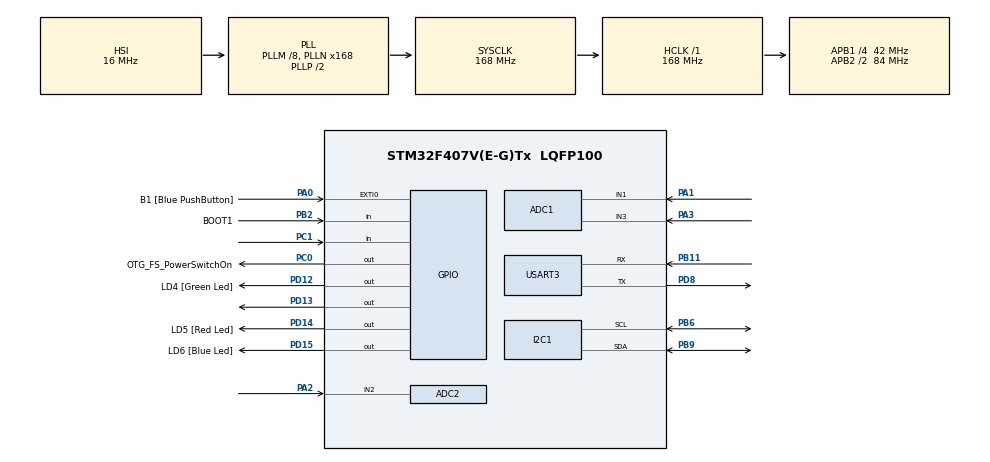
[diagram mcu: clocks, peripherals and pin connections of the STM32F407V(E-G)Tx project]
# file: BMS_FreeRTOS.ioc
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ADC1.Channel-0\#ChannelRegularConversion=ADC_CHANNEL_1
ADC1.DMAAccessMode=ADC_DMAACCESSMODE_2
ADC1.DMAContinuousRequests=ENABLE
ADC1.ExternalTrigConv=ADC_EXTERNALTRIGCONV_T2_TRGO
ADC1.Mode=ADC_DUALMODE_REGSIMULT
ADC1.NbrOfConversionFlag=1
ADC1.Rank-0\#ChannelRegularConversion=1
ADC1.SamplingTime-0\#ChannelRegularConversion=ADC_SAMPLETIME_56CYCLES
ADC1.master=1
ADC2.Channel-0\#ChannelRegularConversion=ADC_CHANNEL_2
ADC2.DMAAccessMode=ADC_DMAACCESSMODE_2
ADC2.Mode=ADC_DUALMODE_REGSIMULT
ADC2.NbrOfConversionFlag=1
ADC2.Rank-0\#ChannelRegularConversion=1
ADC2.SamplingTime-0\#ChannelRegularConversion=ADC_SAMPLETIME_56CYCLES
Dma.ADC1.0.Direction=DMA_PERIPH_TO_MEMORY
Dma.ADC1.0.FIFOMode=DMA_FIFOMODE_DISABLE
Dma.ADC1.0.Instance=DMA2_Stream0
Dma.ADC1.0.MemDataAlignment=DMA_MDATAALIGN_WORD
Dma.ADC1.0.MemInc=DMA_MINC_ENABLE
Dma.ADC1.0.Mode=DMA_CIRCULAR
Dma.ADC1.0.PeriphDataAlignment=DMA_PDATAALIGN_WORD
Dma.ADC1.0.PeriphInc=DMA_PINC_DISABLE
Dma.ADC1.0.Priority=DMA_PRIORITY_LOW
Dma.Request0=ADC1
FREERTOS.Tasks01=DisplayTask,-1,256,StartDisplayTask,Default,NULL,Dynamic,NULL,NULL;BuzzerTask,3,128,StartBuzzerTask,Default,NULL,Dynamic,NULL,NULL;BMSsamplingtask,0,128,StartBMSsamplingtask,Default,NULL,Dynamic,NULL,NULL;ProcessTask,0,128,StartProcessTask,Default,NULL,Dynamic,NULL,NULL;SendToWiFiTask,0,128,StartSendToWiFitask,Default,NULL,Dynamic,NULL,NULL;ChargingTimeTas,0,128,StartChargingTimeTask,Default,NULL,Dynamic,NULL,NULL
FREERTOS.configUSE_NEWLIB_REENTRANT=1
Mcu.Family=STM32F4
Mcu.Name=STM32F407V(E-G)Tx
Mcu.Package=LQFP100
NVIC.DMA2_Stream0_IRQn=true\:5\:0\:false\:false\:true\:true\:false\:true\:true
NVIC.PriorityGroup=NVIC_PRIORITYGROUP_4
NVIC.TIM6_DAC_IRQn=true\:15\:0\:false\:false\:true\:false\:false\:true\:true
NVIC.TimeBase=TIM6_DAC_IRQn
NVIC.TimeBaseIP=TIM6
PA0-WKUP.GPIO_Label=B1 [Blue PushButton]
PA0-WKUP.GPIO_ModeDefaultEXTI=GPIO_MODE_EVT_RISING
PA0-WKUP.GPIO_PuPd=GPIO_NOPULL
PA0-WKUP.Signal=GPXTI0
PA1.Signal=ADCx_IN1
PA10.GPIO_Label=OTG_FS_ID
PA10.GPIO_Mode=GPIO_MODE_AF_PP
PA10.GPIO_PuPd=GPIO_NOPULL
PA10.GPIO_Speed=GPIO_SPEED_FREQ_LOW
PA10.Signal=USB_OTG_FS_ID
PA11.GPIO_Label=OTG_FS_DM
PA11.GPIO_Mode=GPIO_MODE_AF_PP
PA11.GPIO_PuPd=GPIO_NOPULL
PA11.GPIO_Speed=GPIO_SPEED_FREQ_LOW
PA11.Signal=USB_OTG_FS_DM
PA12.GPIO_Label=OTG_FS_DP
PA12.GPIO_Mode=GPIO_MODE_AF_PP
PA12.GPIO_PuPd=GPIO_NOPULL
PA12.GPIO_Speed=GPIO_SPEED_FREQ_LOW
PA12.Signal=USB_OTG_FS_DP
PA13.GPIO_Label=SWDIO
PA13.Mode=Serial_Wire
PA13.Signal=SYS_JTMS-SWDIO
PA14.GPIO_Label=SWCLK
PA14.Mode=Serial_Wire
PA14.Signal=SYS_JTCK-SWCLK
PA2.Signal=ADCx_IN2
PA3.Signal=ADCx_IN3
PA4.GPIO_Label=I2S3_WS [CS43L22_LRCK]
PA4.GPIO_Mode=GPIO_MODE_AF_PP
PA4.GPIO_PuPd=GPIO_NOPULL
PA4.GPIO_Speed=GPIO_SPEED_FREQ_LOW
PA4.Signal=I2S3_WS
PA5.GPIO_Label=SPI1_SCK [LIS302DL_SCL/SPC]
PA5.GPIO_Mode=GPIO_MODE_AF_PP
PA5.GPIO_PuPd=GPIO_NOPULL
PA5.GPIO_Speed=GPIO_SPEED_FREQ_LOW
PA5.Signal=SPI1_SCK
PA6.GPIO_Label=SPI1_MISO [LIS302DL_SDO]
PA6.GPIO_Mode=GPIO_MODE_AF_PP
PA6.GPIO_PuPd=GPIO_NOPULL
PA6.GPIO_Speed=GPIO_SPEED_FREQ_LOW
PA6.Signal=SPI1_MISO
PA7.GPIO_Label=SPI1_MOSI [LIS302DL_SDA/SDI/SDO]
PA7.GPIO_Mode=GPIO_MODE_AF_PP
PA7.GPIO_PuPd=GPIO_NOPULL
PA7.GPIO_Speed=GPIO_SPEED_FREQ_LOW
PA7.Signal=SPI1_MOSI
PA9.GPIO_Label=VBUS_FS
PA9.GPIO_Mode=GPIO_MODE_INPUT
PA9.GPIO_PuPd=GPIO_NOPULL
PA9.Signal=USB_OTG_FS_VBUS
PB10.GPIO_Label=CLK_IN [MP45DT02_CLK]
PB10.GPIO_Mode=GPIO_MODE_AF_PP
PB10.GPIO_PuPd=GPIO_NOPULL
PB10.GPIO_Speed=GPIO_SPEED_FREQ_LOW
PB10.Signal=I2S2_CK
PB11.Mode=Asynchronous
PB11.Signal=USART3_RX
PB2.GPIO_Label=BOOT1
PB2.GPIO_Mode=GPIO_MODE_INPUT
PB2.GPIO_PuPd=GPIO_NOPULL
PB2.Signal=GPIO_Input
PB3.GPIO_Label=SWO
PB3.Signal=SYS_JTDO-SWO
PB6.Mode=I2C
PB6.Signal=I2C1_SCL
PB9.Mode=I2C
PB9.Signal=I2C1_SDA
PC0.GPIO_Label=OTG_FS_PowerSwitchOn
PC0.GPIO_PuPd=GPIO_NOPULL
PC0.GPIO_Speed=GPIO_SPEED_FREQ_LOW
PC0.PinState=GPIO_PIN_SET
PC0.Signal=GPIO_Output
PC1.Signal=GPIO_Input
PC12.GPIO_Label=I2S3_SD [CS43L22_SDIN]
PC12.GPIO_Mode=GPIO_MODE_AF_PP
PC12.GPIO_PuPd=GPIO_NOPULL
PC12.GPIO_Speed=GPIO_SPEED_FREQ_LOW
PC12.Signal=I2S3_SD
PC3.GPIO_Label=PDM_OUT [MP45DT02_DOUT]
PC3.GPIO_Mode=GPIO_MODE_AF_PP
PC3.GPIO_PuPd=GPIO_NOPULL
PC3.GPIO_Speed=GPIO_SPEED_FREQ_LOW
PC3.Signal=I2S2_SD
PD12.GPIO_Label=LD4 [Green Led]
PD12.GPIO_PuPd=GPIO_NOPULL
PD12.GPIO_Speed=GPIO_SPEED_FREQ_LOW
PD12.Signal=GPIO_Output
PD13.Signal=GPIO_Output
PD14.GPIO_Label=LD5 [Red Led]
PD14.GPIO_PuPd=GPIO_NOPULL
PD14.GPIO_Speed=GPIO_SPEED_FREQ_LOW
PD14.Signal=GPIO_Output
PD15.GPIO_Label=LD6 [Blue Led]
PD15.GPIO_PuPd=GPIO_NOPULL
PD15.GPIO_Speed=GPIO_SPEED_FREQ_LOW
PD15.Signal=GPIO_Output
PD8.Mode=Asynchronous
PD8.Signal=USART3_TX
PH0-OSC_IN.GPIO_Label=PH0-OSC_IN
PH0-OSC_IN.Signal=RCC_OSC_IN
PH1-OSC_OUT.GPIO_Label=PH1-OSC_OUT
PH1-OSC_OUT.Signal=RCC_OSC_OUT
ProjectManager.HeapSize=0x200
ProjectManager.StackSize=0x400
ProjectManager.TargetToolchain=STM32CubeIDE
RCC.48MHZClocksFreq_Value=48000000
RCC.AHBFreq_Value=168000000
RCC.APB1CLKDivider=RCC_HCLK_DIV4
RCC.APB1Freq_Value=42000000
RCC.APB1TimFreq_Value=84000000
RCC.APB2CLKDivider=RCC_HCLK_DIV2
RCC.APB2Freq_Value=84000000
RCC.APB2TimFreq_Value=168000000
RCC.CortexFreq_Value=168000000
RCC.HCLKFreq_Value=168000000
RCC.HSE_VALUE=8000000
RCC.HSI_VALUE=16000000
RCC.LSE_VALUE=32768
RCC.PLLI2SN=50
RCC.PLLM=8
RCC.PLLN=168
RCC.PLLQ=7
RCC.SYSCLKFreq_VALUE=168000000
RCC.SYSCLKSource=RCC_SYSCLKSOURCE_PLLCLK
RCC.VCOOutputFreq_Value=336000000
SH.ADCx_IN1.0=ADC1_IN1,IN1
SH.ADCx_IN2.0=ADC2_IN2,IN2
SH.ADCx_IN3.0=ADC1_IN3,IN3
TIM2.Period=999
TIM2.Prescaler=8399
TIM2.TIM_MasterOutputTrigger=TIM_TRGO_UPDATE
TIM2.TIM_MasterSlaveMode=TIM_MASTERSLAVEMODE_ENABLE
USART3.VirtualMode=VM_ASYNC
VP_FREERTOS_VS_CMSIS_V1.Mode=CMSIS_V1
VP_SYS_VS_tim6.Mode=TIM6
VP_TIM2_VS_ClockSourceINT.Mode=Internal
board=STM32F407G-DISC1

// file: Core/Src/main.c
/* USER CODE BEGIN Header */
/**
  ******************************************************************************
  * @file           : main.c
  * @brief          : Main program body
  ******************************************************************************
  * @attention
  *
  * Copyright (c) 2025 STMicroelectronics.
  * All rights reserved.
  *
  * This software is licensed under terms that can be found in the LICENSE file
  * in the root directory of this software component.
  * If no LICENSE file comes with this software, it is provided AS-IS.
  *
  ******************************************************************************
  */
/* USER CODE END Header */
#include "main.h"
#include "cmsis_os.h"

/* USER CODE BEGIN Includes */
#include "stdio.h"
#include "string.h"
#include "oled_display.h"
#include "buzzer.h"
#include "sensing.h"
#include "processings.h"
#include "bms_data.h"
#include "eeprom_processings.h"
/* USER CODE END Includes */

/* USER CODE BEGIN PTD */
typedef enum{
	STATE_SAMPLE_VI,
	STATE_SAMPLE_TEMP,
	STATE_ERROR
}BMS_State_t;
typedef struct{
	float voltage;
	float current;
	int soc;
	float power;
	float temperature;
	int soh;
	BatteryStatus batteryStatus;
	int hours;
	int minutes;
}Display_Data_t;
/* USER CODE END PTD */

ADC_HandleTypeDef hadc1;
ADC_HandleTypeDef hadc2;
DMA_HandleTypeDef hdma_adc1;

I2C_HandleTypeDef hi2c1;

TIM_HandleTypeDef htim2;

UART_HandleTypeDef huart3;

osThreadId DisplayTaskHandle;
osThreadId BuzzerTaskHandle;
osThreadId BMSsamplingtaskHandle;
osThreadId ProcessTaskHandle;
osThreadId SendToWiFiTaskHandle;
osThreadId ChargingTimeTasHandle;
/* USER CODE BEGIN PV */
static BMS_State_t currentState = STATE_SAMPLE_VI;
static uint32_t fsm_counter = 0;  // for controlling periodic temperature sampling

Display_Data_t display_data ={0};
static SemaphoreHandle_t xDisplayMutex;

static char jsonBuffer[512];//predefine block for collect data for wifi
//Processtask binary semaphore

/* USER CODE END PV */

void SystemClock_Config(void);
static void MX_GPIO_Init(void);
static void MX_DMA_Init(void);
static void MX_I2C1_Init(void);
void MX_ADC1_Init(void);
static void MX_ADC2_Init(void);
static void MX_TIM2_Init(void);
static void MX_USART3_UART_Init(void);
void StartDisplayTask(void const * argument);
void StartBuzzerTask(void const * argument);
void StartBMSsamplingtask(void const * argument);
void StartProcessTask(void const * argument);
void StartSendToWiFitask(void const * argument);
void StartChargingTimeTask(void const * argument);

int main(void)
{

  /* MCU Configuration--------------------------------------------------------*/

  /* Reset of all peripherals, Initializes the Flash interface and the Systick. */
  HAL_Init();

  /* Configure the system clock */
  SystemClock_Config();

  /* Initialize all configured peripherals */
  MX_GPIO_Init();
  MX_DMA_Init();
  MX_I2C1_Init();
  MX_ADC1_Init();
  MX_ADC2_Init();
  MX_TIM2_Init();
  MX_USART3_UART_Init();
  /* USER CODE BEGIN 2 */
  /* Initialize OLED and Buzzer*/
  oled_init();
  buzzer_init();
  BMS_Init();
  /* USER CODE END 2 */

  /* USER CODE BEGIN RTOS_MUTEX */
  /* add mutexes, ... */
  xDisplayMutex = xSemaphoreCreateMutex();
  /* USER CODE END RTOS_MUTEX */

  /* Create the thread(s) */
  /* definition and creation of DisplayTask */
  osThreadDef(DisplayTask, StartDisplayTask, osPriorityBelowNormal, 0, 256);
  DisplayTaskHandle = osThreadCreate(osThread(DisplayTask), NULL);

  /* definition and creation of BuzzerTask */
  osThreadDef(BuzzerTask, StartBuzzerTask, osPriorityRealtime, 0, 128);
  BuzzerTaskHandle = osThreadCreate(osThread(BuzzerTask), NULL);

  /* definition and creation of BMSsamplingtask */
  osThreadDef(BMSsamplingtask, StartBMSsamplingtask, osPriorityNormal, 0, 128);
  BMSsamplingtaskHandle = osThreadCreate(osThread(BMSsamplingtask), NULL);

  /* definition and creation of ProcessTask */
  osThreadDef(ProcessTask, StartProcessTask, osPriorityNormal, 0, 128);
  ProcessTaskHandle = osThreadCreate(osThread(ProcessTask), NULL);

  /* definition and creation of SendToWiFiTask */
  osThreadDef(SendToWiFiTask, StartSendToWiFitask, osPriorityBelowNormal, 0, 128);
  SendToWiFiTaskHandle = osThreadCreate(osThread(SendToWiFiTask), NULL);

  /* definition and creation of ChargingTimeTas */
  osThreadDef(ChargingTimeTas, StartChargingTimeTask, osPriorityNormal, 0, 128);
  ChargingTimeTasHandle = osThreadCreate(osThread(ChargingTimeTas), NULL);

  /* Start scheduler */
  osKernelStart();

  /* We should never get here as control is now taken by the scheduler */

  /* Infinite loop */
  while (1)
  {

  }
}

void SystemClock_Config(void)
{
  RCC_OscInitTypeDef RCC_OscInitStruct = {0};
  RCC_ClkInitTypeDef RCC_ClkInitStruct = {0};

  /** Configure the main internal regulator output voltage
  */
  __HAL_RCC_PWR_CLK_ENABLE();
  __HAL_PWR_VOLTAGESCALING_CONFIG(PWR_REGULATOR_VOLTAGE_SCALE1);

  /** Initializes the RCC Oscillators according to the specified parameters
  * in the RCC_OscInitTypeDef structure.
  */
  RCC_OscInitStruct.OscillatorType = RCC_OSCILLATORTYPE_HSI;
  RCC_OscInitStruct.HSIState = RCC_HSI_ON;
  RCC_OscInitStruct.HSICalibrationValue = RCC_HSICALIBRATION_DEFAULT;
  RCC_OscInitStruct.PLL.PLLState = RCC_PLL_ON;
  RCC_OscInitStruct.PLL.PLLSource = RCC_PLLSOURCE_HSI;
  RCC_OscInitStruct.PLL.PLLM = 8;
  RCC_OscInitStruct.PLL.PLLN = 168;
  RCC_OscInitStruct.PLL.PLLP = RCC_PLLP_DIV2;
  RCC_OscInitStruct.PLL.PLLQ = 7;
  if (HAL_RCC_OscConfig(&RCC_OscInitStruct) != HAL_OK)
  {
    Error_Handler();
  }

  /** Initializes the CPU, AHB and APB buses clocks
  */
  RCC_ClkInitStruct.ClockType = RCC_CLOCKTYPE_HCLK|RCC_CLOCKTYPE_SYSCLK
                              |RCC_CLOCKTYPE_PCLK1|RCC_CLOCKTYPE_PCLK2;
  RCC_ClkInitStruct.SYSCLKSource = RCC_SYSCLKSOURCE_PLLCLK;
  RCC_ClkInitStruct.AHBCLKDivider = RCC_SYSCLK_DIV1;
  RCC_ClkInitStruct.APB1CLKDivider = RCC_HCLK_DIV4;
  RCC_ClkInitStruct.APB2CLKDivider = RCC_HCLK_DIV2;

  if (HAL_RCC_ClockConfig(&RCC_ClkInitStruct, FLASH_LATENCY_5) != HAL_OK)
  {
    Error_Handler();
  }
}

void MX_ADC1_Init(void)
{

  ADC_MultiModeTypeDef multimode = {0};
  ADC_ChannelConfTypeDef sConfig = {0};

  /** Configure the global features of the ADC (Clock, Resolution, Data Alignment and number of conversion)
  */
  hadc1.Instance = ADC1;
  hadc1.Init.ClockPrescaler = ADC_CLOCK_SYNC_PCLK_DIV4;
  hadc1.Init.Resolution = ADC_RESOLUTION_12B;
  hadc1.Init.ScanConvMode = DISABLE;
  hadc1.Init.ContinuousConvMode = DISABLE;
  hadc1.Init.DiscontinuousConvMode = DISABLE;
  hadc1.Init.ExternalTrigConvEdge = ADC_EXTERNALTRIGCONVEDGE_RISING;
  hadc1.Init.ExternalTrigConv = ADC_EXTERNALTRIGCONV_T2_TRGO;
  hadc1.Init.DataAlign = ADC_DATAALIGN_RIGHT;
  hadc1.Init.NbrOfConversion = 1;
  hadc1.Init.DMAContinuousRequests = ENABLE;
  hadc1.Init.EOCSelection = ADC_EOC_SINGLE_CONV;
  if (HAL_ADC_Init(&hadc1) != HAL_OK)
  {
    Error_Handler();
  }

  /** Configure the ADC multi-mode
  */
  multimode.Mode = ADC_DUALMODE_REGSIMULT;
  multimode.DMAAccessMode = ADC_DMAACCESSMODE_2;
  multimode.TwoSamplingDelay = ADC_TWOSAMPLINGDELAY_5CYCLES;
  if (HAL_ADCEx_MultiModeConfigChannel(&hadc1, &multimode) != HAL_OK)
  {
    Error_Handler();
  }

  /** Configure for the selected ADC regular channel its corresponding rank in the sequencer and its sample time.
  */
  sConfig.Channel = ADC_CHANNEL_1;
  sConfig.Rank = 1;
  sConfig.SamplingTime = ADC_SAMPLETIME_56CYCLES;
  if (HAL_ADC_ConfigChannel(&hadc1, &sConfig) != HAL_OK)
  {
    Error_Handler();
  }

}

static void MX_ADC2_Init(void)
{

  ADC_ChannelConfTypeDef sConfig = {0};

  /** Configure the global features of the ADC (Clock, Resolution, Data Alignment and number of conversion)
  */
  hadc2.Instance = ADC2;
  hadc2.Init.ClockPrescaler = ADC_CLOCK_SYNC_PCLK_DIV4;
  hadc2.Init.Resolution = ADC_RESOLUTION_12B;
  hadc2.Init.ScanConvMode = DISABLE;
  hadc2.Init.ContinuousConvMode = DISABLE;
  hadc2.Init.DiscontinuousConvMode = DISABLE;
  hadc2.Init.DataAlign = ADC_DATAALIGN_RIGHT;
  hadc2.Init.NbrOfConversion = 1;
  hadc2.Init.DMAContinuousRequests = DISABLE;
  hadc2.Init.EOCSelection = ADC_EOC_SINGLE_CONV;
  if (HAL_ADC_Init(&hadc2) != HAL_OK)
  {
    Error_Handler();
  }

  /** Configure for the selected ADC regular channel its corresponding rank in the sequencer and its sample time.
  */
  sConfig.Channel = ADC_CHANNEL_2;
  sConfig.Rank = 1;
  sConfig.SamplingTime = ADC_SAMPLETIME_56CYCLES;
  if (HAL_ADC_ConfigChannel(&hadc2, &sConfig) != HAL_OK)
  {
    Error_Handler();
  }

}

static void MX_I2C1_Init(void)
{

  hi2c1.Instance = I2C1;
  hi2c1.Init.ClockSpeed = 100000;
  hi2c1.Init.DutyCycle = I2C_DUTYCYCLE_2;
  hi2c1.Init.OwnAddress1 = 0;
  hi2c1.Init.AddressingMode = I2C_ADDRESSINGMODE_7BIT;
  hi2c1.Init.DualAddressMode = I2C_DUALADDRESS_DISABLE;
  hi2c1.Init.OwnAddress2 = 0;
  hi2c1.Init.GeneralCallMode = I2C_GENERALCALL_DISABLE;
  hi2c1.Init.NoStretchMode = I2C_NOSTRETCH_DISABLE;
  if (HAL_I2C_Init(&hi2c1) != HAL_OK)
  {
    Error_Handler();
  }

}

static void MX_TIM2_Init(void)
{

  TIM_ClockConfigTypeDef sClockSourceConfig = {0};
  TIM_MasterConfigTypeDef sMasterConfig = {0};

  htim2.Instance = TIM2;
  htim2.Init.Prescaler = 8399;
  htim2.Init.CounterMode = TIM_COUNTERMODE_UP;
  htim2.Init.Period = 999;
  htim2.Init.ClockDivision = TIM_CLOCKDIVISION_DIV1;
  htim2.Init.AutoReloadPreload = TIM_AUTORELOAD_PRELOAD_DISABLE;
  if (HAL_TIM_Base_Init(&htim2) != HAL_OK)
  {
    Error_Handler();
  }
  sClockSourceConfig.ClockSource = TIM_CLOCKSOURCE_INTERNAL;
  if (HAL_TIM_ConfigClockSource(&htim2, &sClockSourceConfig) != HAL_OK)
  {
    Error_Handler();
  }
  sMasterConfig.MasterOutputTrigger = TIM_TRGO_UPDATE;
  sMasterConfig.MasterSlaveMode = TIM_MASTERSLAVEMODE_ENABLE;
  if (HAL_TIMEx_MasterConfigSynchronization(&htim2, &sMasterConfig) != HAL_OK)
  {
    Error_Handler();
  }

}

static void MX_USART3_UART_Init(void)
{

  huart3.Instance = USART3;
  huart3.Init.BaudRate = 115200;
  huart3.Init.WordLength = UART_WORDLENGTH_8B;
  huart3.Init.StopBits = UART_STOPBITS_1;
  huart3.Init.Parity = UART_PARITY_NONE;
  huart3.Init.Mode = UART_MODE_TX_RX;
  huart3.Init.HwFlowCtl = UART_HWCONTROL_NONE;
  huart3.Init.OverSampling = UART_OVERSAMPLING_16;
  if (HAL_UART_Init(&huart3) != HAL_OK)
  {
    Error_Handler();
  }

}

static void MX_DMA_Init(void)
{

  /* DMA controller clock enable */
  __HAL_RCC_DMA2_CLK_ENABLE();

  /* DMA interrupt init */
  /* DMA2_Stream0_IRQn interrupt configuration */
  HAL_NVIC_SetPriority(DMA2_Stream0_IRQn, 5, 0);
  HAL_NVIC_EnableIRQ(DMA2_Stream0_IRQn);

}

static void MX_GPIO_Init(void)
{
  GPIO_InitTypeDef GPIO_InitStruct = {0};

  /* GPIO Ports Clock Enable */
  __HAL_RCC_GPIOH_CLK_ENABLE();
  __HAL_RCC_GPIOC_CLK_ENABLE();
  __HAL_RCC_GPIOA_CLK_ENABLE();
  __HAL_RCC_GPIOB_CLK_ENABLE();
  __HAL_RCC_GPIOD_CLK_ENABLE();

  /*Configure GPIO pin Output Level */
  HAL_GPIO_WritePin(OTG_FS_PowerSwitchOn_GPIO_Port, OTG_FS_PowerSwitchOn_Pin, GPIO_PIN_SET);

  /*Configure GPIO pin Output Level */
  HAL_GPIO_WritePin(GPIOD, LD4_Pin|GPIO_PIN_13|LD5_Pin|LD6_Pin, GPIO_PIN_RESET);

  /*Configure GPIO pin : OTG_FS_PowerSwitchOn_Pin */
  GPIO_InitStruct.Pin = OTG_FS_PowerSwitchOn_Pin;
  GPIO_InitStruct.Mode = GPIO_MODE_OUTPUT_PP;
  GPIO_InitStruct.Pull = GPIO_NOPULL;
  GPIO_InitStruct.Speed = GPIO_SPEED_FREQ_LOW;
  HAL_GPIO_Init(OTG_FS_PowerSwitchOn_GPIO_Port, &GPIO_InitStruct);

  /*Configure GPIO pin : PC1 */
  GPIO_InitStruct.Pin = GPIO_PIN_1;
  GPIO_InitStruct.Mode = GPIO_MODE_INPUT;
  GPIO_InitStruct.Pull = GPIO_NOPULL;
  HAL_GPIO_Init(GPIOC, &GPIO_InitStruct);

  /*Configure GPIO pin : PDM_OUT_Pin */
  GPIO_InitStruct.Pin = PDM_OUT_Pin;
  GPIO_InitStruct.Mode = GPIO_MODE_AF_PP;
  GPIO_InitStruct.Pull = GPIO_NOPULL;
  GPIO_InitStruct.Speed = GPIO_SPEED_FREQ_LOW;
  GPIO_InitStruct.Alternate = GPIO_AF5_SPI2;
  HAL_GPIO_Init(PDM_OUT_GPIO_Port, &GPIO_InitStruct);

  /*Configure GPIO pin : B1_Pin */
  GPIO_InitStruct.Pin = B1_Pin;
  GPIO_InitStruct.Mode = GPIO_MODE_EVT_RISING;
  GPIO_InitStruct.Pull = GPIO_NOPULL;
  HAL_GPIO_Init(B1_GPIO_Port, &GPIO_InitStruct);

  /*Configure GPIO pin : I2S3_WS_Pin */
  GPIO_InitStruct.Pin = I2S3_WS_Pin;
  GPIO_InitStruct.Mode = GPIO_MODE_AF_PP;
  GPIO_InitStruct.Pull = GPIO_NOPULL;
  GPIO_InitStruct.Speed = GPIO_SPEED_FREQ_LOW;
  GPIO_InitStruct.Alternate = GPIO_AF6_SPI3;
  HAL_GPIO_Init(I2S3_WS_GPIO_Port, &GPIO_InitStruct);

  /*Configure GPIO pins : SPI1_SCK_Pin SPI1_MISO_Pin SPI1_MOSI_Pin */
  GPIO_InitStruct.Pin = SPI1_SCK_Pin|SPI1_MISO_Pin|SPI1_MOSI_Pin;
  GPIO_InitStruct.Mode = GPIO_MODE_AF_PP;
  GPIO_InitStruct.Pull = GPIO_NOPULL;
  GPIO_InitStruct.Speed = GPIO_SPEED_FREQ_LOW;
  GPIO_InitStruct.Alternate = GPIO_AF5_SPI1;
  HAL_GPIO_Init(GPIOA, &GPIO_InitStruct);

  /*Configure GPIO pin : BOOT1_Pin */
  GPIO_InitStruct.Pin = BOOT1_Pin;
  GPIO_InitStruct.Mode = GPIO_MODE_INPUT;
  GPIO_InitStruct.Pull = GPIO_NOPULL;
  HAL_GPIO_Init(BOOT1_GPIO_Port, &GPIO_InitStruct);

  /*Configure GPIO pin : CLK_IN_Pin */
  GPIO_InitStruct.Pin = CLK_IN_Pin;
  GPIO_InitStruct.Mode = GPIO_MODE_AF_PP;
  GPIO_InitStruct.Pull = GPIO_NOPULL;
  GPIO_InitStruct.Speed = GPIO_SPEED_FREQ_LOW;
  GPIO_InitStruct.Alternate = GPIO_AF5_SPI2;
  HAL_GPIO_Init(CLK_IN_GPIO_Port, &GPIO_InitStruct);

  /*Configure GPIO pins : LD4_Pin PD13 LD5_Pin LD6_Pin */
  GPIO_InitStruct.Pin = LD4_Pin|GPIO_PIN_13|LD5_Pin|LD6_Pin;
  GPIO_InitStruct.Mode = GPIO_MODE_OUTPUT_PP;
  GPIO_InitStruct.Pull = GPIO_NOPULL;
  GPIO_InitStruct.Speed = GPIO_SPEED_FREQ_LOW;
  HAL_GPIO_Init(GPIOD, &GPIO_InitStruct);

  /*Configure GPIO pin : VBUS_FS_Pin */
  GPIO_InitStruct.Pin = VBUS_FS_Pin;
  GPIO_InitStruct.Mode = GPIO_MODE_INPUT;
  GPIO_InitStruct.Pull = GPIO_NOPULL;
  HAL_GPIO_Init(VBUS_FS_GPIO_Port, &GPIO_InitStruct);

  /*Configure GPIO pins : OTG_FS_ID_Pin OTG_FS_DM_Pin OTG_FS_DP_Pin */
  GPIO_InitStruct.Pin = OTG_FS_ID_Pin|OTG_FS_DM_Pin|OTG_FS_DP_Pin;
  GPIO_InitStruct.Mode = GPIO_MODE_AF_PP;
  GPIO_InitStruct.Pull = GPIO_NOPULL;
  GPIO_InitStruct.Speed = GPIO_SPEED_FREQ_LOW;
  GPIO_InitStruct.Alternate = GPIO_AF10_OTG_FS;
  HAL_GPIO_Init(GPIOA, &GPIO_InitStruct);

  /*Configure GPIO pin : I2S3_SD_Pin */
  GPIO_InitStruct.Pin = I2S3_SD_Pin;
  GPIO_InitStruct.Mode = GPIO_MODE_AF_PP;
  GPIO_InitStruct.Pull = GPIO_NOPULL;
  GPIO_InitStruct.Speed = GPIO_SPEED_FREQ_LOW;
  GPIO_InitStruct.Alternate = GPIO_AF6_SPI3;
  HAL_GPIO_Init(I2S3_SD_GPIO_Port, &GPIO_InitStruct);

}

void StartDisplayTask(void const * argument)
{
  /* USER CODE BEGIN 5 */
	Display_Data_t local_display_data;
  /* Infinite loop */
  for(;;)
  {
	xSemaphoreTake(xDisplayMutex,portMAX_DELAY);
	local_display_data = display_data;
	xSemaphoreGive(xDisplayMutex);

	oled_display(local_display_data.voltage, local_display_data.current, local_display_data.soc,
			local_display_data.power, local_display_data.temperature, local_display_data.soh,
			local_display_data.batteryStatus, local_display_data.hours, local_display_data.minutes);
    osDelay(100);
  }
  /* USER CODE END 5 */
}

void StartBuzzerTask(void const * argument)
{
  /* USER CODE BEGIN StartBuzzerTask */
  /* Infinite loop */
  for(;;)
  {
		ulTaskNotifyTake(pdTRUE, portMAX_DELAY);
		buzzer_on();
		osDelay(1000);
		buzzer_off();
		osDelay(1000);

  }
  /* USER CODE END StartBuzzerTask */
}

void StartBMSsamplingtask(void const * argument)
{
  /* USER CODE BEGIN StartBMSsamplingtask */
  /* Infinite loop */
  for(;;)
  {
	switch(currentState)
	{
    case STATE_SAMPLE_VI:
    	reconfigure_to_dual_mode();
        // Wait for DMA to finish (task notify triggered in ISR)
        ulTaskNotifyTake(pdTRUE, portMAX_DELAY);
        process_voltage_and_current_data();

        xSemaphoreTake(xDisplayMutex,portMAX_DELAY);
        display_data.voltage = voltage;
        display_data.current = current;
        xSemaphoreGive(xDisplayMutex);
        fsm_counter++;
        if (fsm_counter >= 100)  // every 10 sec (if delay is 100ms)
        {
            currentState = STATE_SAMPLE_TEMP;
            fsm_counter = 0;
        }
        break;

    case STATE_SAMPLE_TEMP:
        reconfigure_to_temperature_channel();
        read_temperature();
        display_data.temperature = temperature;
        currentState = STATE_SAMPLE_VI;  // Go back to VI sampling
        xSemaphoreTake(xDisplayMutex,portMAX_DELAY);
        display_data.temperature = temperature;
        xSemaphoreGive(xDisplayMutex);
        break;

    case STATE_ERROR:
        // Optional error state handling
        break;
	}
	xTaskNotifyGive(ProcessTaskHandle); // process data everytime we finish sampling
    osDelay(100);
  }
  /* USER CODE END StartBMSsamplingtask */
}

void StartProcessTask(void const * argument)
{
  /* USER CODE BEGIN StartProcessTask */
  /* Infinite loop */
  for(;;)
  {
	ulTaskNotifyTake(pdTRUE, 200);
	processing();
    xSemaphoreTake(xDisplayMutex,portMAX_DELAY);
    display_data.soc = BMS_Data.stateOfCharge_percent;
    display_data.power = process_data.power;
    display_data.soh = BMS_Data.stateOfHealth_percent;
    display_data.batteryStatus = process_data.batteryStatus;
    display_data.hours = process_data.hours;
    display_data.minutes = process_data.minutes;
    xSemaphoreGive(xDisplayMutex);

    if(BMS_Data.fault_flag)
    {
    	//anything unexpected happens, ring the buzzer
    	xTaskNotifyGive(BuzzerTaskHandle);
    }
    osDelay(100);
  }
  /* USER CODE END StartProcessTask */
}

void StartSendToWiFitask(void const * argument)
{
  /* USER CODE BEGIN StartSendToWiFitask */
  /* Infinite loop */
  for(;;)
  {
	if(HAL_GPIO_ReadPin(GPIOC,GPIO_PIN_1)== GPIO_PIN_RESET){

		Display_Data_t local_upload_data;
		xSemaphoreTake(xDisplayMutex,portMAX_DELAY);
		local_upload_data = display_data;
		xSemaphoreGive(xDisplayMutex);

		snprintf(jsonBuffer, sizeof(jsonBuffer),
		    "{"
		    "\"BatteryName\":\"%s\","
			"\"Status\":\"%s\","
			"\"stateOfCharge\":%d,"
		    "\"stateOfHealth\":%d,"
		    "\"averageVoltage\":%d,"
		    "\"averageCurrent\":%d,"
		    "\"averageTemperature\":%d,"
		    "\"totalChargeCycles\":%d,"
		    "\"totalChargingTime\":%d,"
			"\"remainingChargingHours\":%d,"
			"\"remainingChargingMinutes\":%d,"
		    "\"faultFlag\":%s,"
		    "\"chargeUpFlag\":%s"
		    "}\n",
		    BMS_Data.batteryName,
			batteryStatusToString(local_upload_data.batteryStatus),
		    BMS_Data.stateOfCharge_percent,
		    BMS_Data.stateOfHealth_percent,
		    BMS_Data.averageVoltage_mV,
		    BMS_Data.averageCurrent_mA,
		    BMS_Data.averageTemperature_C,
		    BMS_Data.totalChargeCycles,
		    BMS_Data.totalChargingTime_seconds,
			local_upload_data.hours,
			local_upload_data.minutes,
		    BMS_Data.fault_flag ? "true" : "false",
		    BMS_Data.charge_up_flag ? "true" : "false"
		);

	    HAL_UART_Transmit(&huart3, (uint8_t*)jsonBuffer, strlen(jsonBuffer), HAL_MAX_DELAY);

	}
			osDelay(1000);
  }
  /* USER CODE END StartSendToWiFitask */
}

void StartChargingTimeTask(void const * argument)
{
  /* USER CODE BEGIN StartChargingTimeTask */
  /* Infinite loop */
  for(;;)
  {
	if(process_data.batteryStatus == CHARGING  &&  current > 50){
		BMS_Data.totalChargingTime_seconds +=1;
	}
    osDelay(1000);
  }
  /* USER CODE END StartChargingTimeTask */
}

void HAL_TIM_PeriodElapsedCallback(TIM_HandleTypeDef *htim)
{
  if (htim->Instance == TIM6) {
    HAL_IncTick();
  }
}

void Error_Handler(void)
{
  __disable_irq();
  while (1)
  {
  }
}
